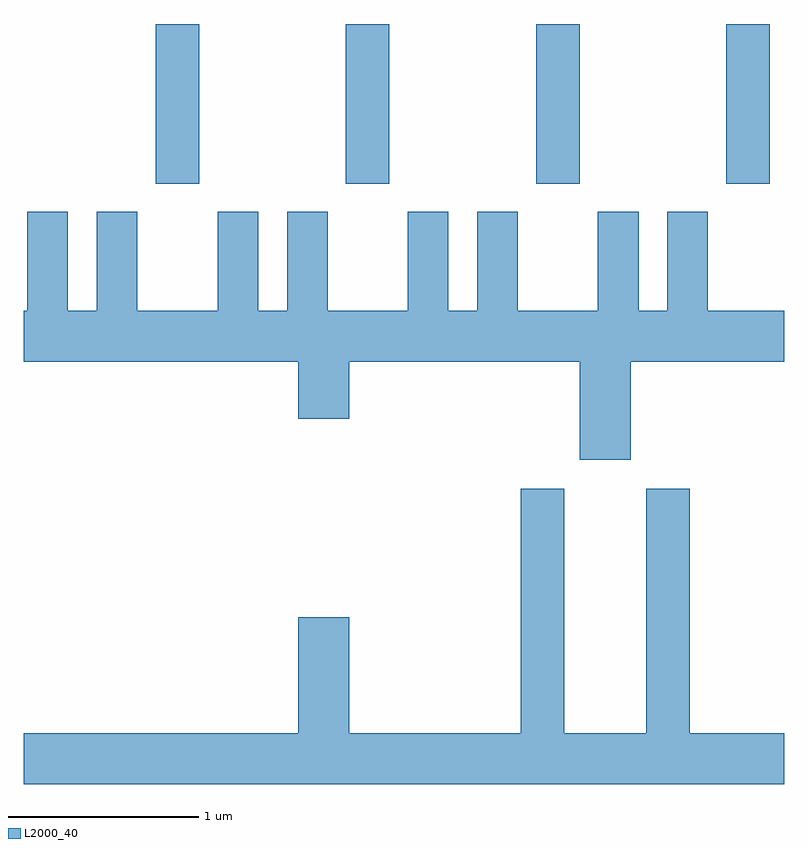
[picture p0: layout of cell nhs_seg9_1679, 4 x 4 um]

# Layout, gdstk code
import gdstk
lib = gdstk.Library(unit=1e-6, precision=1e-09)
def R(c, l, rs):  # rectangles x0, y0, x1, y1
    for r in rs: c.add(gdstk.rectangle(r[:2], r[2:], *l))
def A(c, l, x, y, w, h, nx, ny, dx, dy):  # array of equal rectangles
    R(c, l, [(x+i*dx, y+j*dy, x+i*dx+w, y+j*dy+h) for i in range(nx) for j in range(ny)])
def P(c, l, *ps):  # polygons
    for p in ps: c.add(gdstk.Polygon(p, *l))
L2000_40 = (2000, 40)

nhs_seg9_1679 = lib.new_cell('nhs_seg9_1679')
A(nhs_seg9_1679, L2000_40, 234.306, 2041.591, 0.228, 0.841, 4, 1, 1, 0)
P(nhs_seg9_1679, L2000_40, [(236.804,2040.656),(237.611,2040.656),(237.611,2040.924),(237.209,2040.924),(237.209,2041.444),(236.996,2041.444),(236.996,2040.924),(236.844,2040.924),(236.844,2041.444),(236.631,2041.444),(236.631,2040.924),(236.209,2040.924),(236.209,2041.444),(235.996,2041.444),(235.996,2040.924),(235.844,2040.924),(235.844,2041.444),(235.631,2041.444),(235.631,2040.924),(235.209,2040.924),(235.209,2041.444),(234.996,2041.444),(234.996,2040.924),(234.844,2040.924),(234.844,2041.444),(234.631,2041.444),(234.631,2040.924),(234.209,2040.924),(234.209,2041.444),(233.996,2041.444),(233.996,2040.924),(233.844,2040.924),(233.844,2041.444),(233.631,2041.444),(233.631,2040.924),(233.611,2040.924),(233.611,2040.656),(235.056,2040.656),(235.056,2040.356),(235.324,2040.356),(235.324,2040.656),(236.536,2040.656),(236.536,2040.141),(236.804,2040.141)],
  [(237.611,2038.704),(237.114,2038.704),(237.114,2039.989),(236.886,2039.989),(236.886,2038.704),(236.454,2038.704),(236.454,2039.989),(236.226,2039.989),(236.226,2038.704),(235.324,2038.704),(235.324,2039.314),(235.056,2039.314),(235.056,2038.704),(233.611,2038.704),(233.611,2038.436),(237.611,2038.436)])

lib.write_gds('nhs_seg9_1679.gds')
